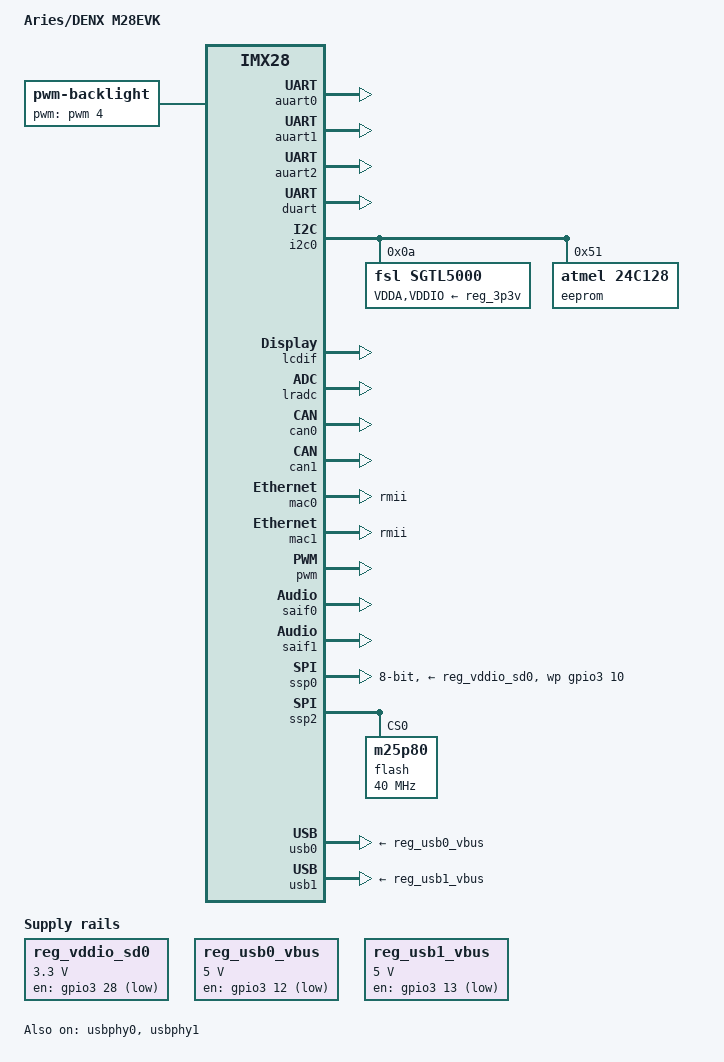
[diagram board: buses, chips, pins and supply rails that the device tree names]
// SPDX-License-Identifier: GPL-2.0-or-later
/*

 * Copyright (C) 2012 Marek Vasut <marex@denx.de>
 */

/dts-v1/;
#include "imx28-m28.dtsi"

/ {
	model = "Aries/DENX M28EVK";
	compatible = "aries,m28evk", "denx,m28evk", "fsl,imx28";

	backlight {
		compatible = "pwm-backlight";
		pwms = <&pwm 4 5000000>;
		brightness-levels = <0 4 8 16 32 64 128 255>;
		default-brightness-level = <6>;
	};

	reg_vddio_sd0: regulator-1 {
		compatible = "regulator-fixed";
		regulator-name = "vddio-sd0";
		regulator-min-microvolt = <3300000>;
		regulator-max-microvolt = <3300000>;
		gpio = <&gpio3 28 0>;
	};

	reg_usb0_vbus: regulator-2 {
		compatible = "regulator-fixed";
		regulator-name = "usb0_vbus";
		regulator-min-microvolt = <5000000>;
		regulator-max-microvolt = <5000000>;
		gpio = <&gpio3 12 0>;
	};

	reg_usb1_vbus: regulator-3 {
		compatible = "regulator-fixed";
		regulator-name = "usb1_vbus";
		regulator-min-microvolt = <5000000>;
		regulator-max-microvolt = <5000000>;
		gpio = <&gpio3 13 0>;
	};

	sound {
		compatible = "denx,m28evk-sgtl5000",
			     "fsl,mxs-audio-sgtl5000";
		model = "m28evk-sgtl5000";
		saif-controllers = <&saif0 &saif1>;
		audio-codec = <&sgtl5000>;
	};
};

&auart0 {
	pinctrl-names = "default";
	pinctrl-0 = <&auart0_pins_a>;
	status = "okay";
};

&auart1 {
	pinctrl-names = "default";
	pinctrl-0 = <&auart1_pins_a>;
	status = "okay";
};

&auart2 {
	pinctrl-names = "default";
	pinctrl-0 = <&auart2_2pins_b>;
	status = "okay";
};

&duart {
	pinctrl-names = "default";
	pinctrl-0 = <&duart_pins_a>;
	status = "okay";
};

&i2c0 {
	sgtl5000: codec@a {
		compatible = "fsl,sgtl5000";
		reg = <0x0a>;
		#sound-dai-cells = <0>;
		VDDA-supply = <&reg_3p3v>;
		VDDIO-supply = <&reg_3p3v>;
		clocks = <&saif0>;
	};

	eeprom: eeprom@51 {
		compatible = "atmel,24c128";
		reg = <0x51>;
		pagesize = <32>;
	};
};

&lcdif {
	pinctrl-names = "default";
	pinctrl-0 = <&lcdif_24bit_pins_a
		     &lcdif_pins_m28>;
	display = <&display0>;
	status = "okay";

	display0: display0 {
		bits-per-pixel = <16>;
		bus-width = <18>;

		display-timings {
			native-mode = <&timing0>;
			timing0: timing0 {
				clock-frequency = <33260000>;
				hactive = <800>;
				vactive = <480>;
				hback-porch = <0>;
				hfront-porch = <256>;
				vback-porch = <0>;
				vfront-porch = <45>;
				hsync-len = <1>;
				vsync-len = <1>;
				hsync-active = <0>;
				vsync-active = <0>;
				de-active = <1>;
				pixelclk-active = <1>;
			};
		};
	};
};

&lradc {
	status = "okay";
	fsl,lradc-touchscreen-wires = <4>;
};

&can0 {
	pinctrl-names = "default";
	pinctrl-0 = <&can0_pins_a>;
	status = "okay";
};

&can1 {
	pinctrl-names = "default";
	pinctrl-0 = <&can1_pins_a>;
	status = "okay";
};

&mac0 {
	phy-mode = "rmii";
	pinctrl-names = "default";
	pinctrl-0 = <&mac0_pins_a>;
	clocks = <&clks 57>, <&clks 57>;
	clock-names = "ipg", "ahb";
	status = "okay";
};

&mac1 {
	phy-mode = "rmii";
	pinctrl-names = "default";
	pinctrl-0 = <&mac1_pins_a>;
	status = "okay";
};

&pinctrl {
	pinctrl-names = "default";
	pinctrl-0 = <&hog_pins_a>;

	hog_pins_a: hog@0 {
		reg = <0>;
		fsl,pinmux-ids = <
			MX28_PAD_PWM3__GPIO_3_28
			MX28_PAD_AUART2_CTS__GPIO_3_10
			MX28_PAD_AUART2_RTS__GPIO_3_11
			MX28_PAD_AUART3_RX__GPIO_3_12
			MX28_PAD_AUART3_TX__GPIO_3_13
		>;
		fsl,drive-strength = <MXS_DRIVE_4mA>;
		fsl,voltage = <MXS_VOLTAGE_HIGH>;
		fsl,pull-up = <MXS_PULL_DISABLE>;
	};

	lcdif_pins_m28: lcdif-m28@0 {
		reg = <0>;
		fsl,pinmux-ids = <
			MX28_PAD_LCD_DOTCLK__LCD_DOTCLK
			MX28_PAD_LCD_ENABLE__LCD_ENABLE
		>;
		fsl,drive-strength = <MXS_DRIVE_4mA>;
		fsl,voltage = <MXS_VOLTAGE_HIGH>;
		fsl,pull-up = <MXS_PULL_DISABLE>;
	};
};

&pwm {
	pinctrl-names = "default";
	pinctrl-0 = <&pwm4_pins_a>;
	status = "okay";
};

&saif0 {
	pinctrl-names = "default";
	pinctrl-0 = <&saif0_pins_a>;
	status = "okay";
};

&saif1 {
	pinctrl-names = "default";
	pinctrl-0 = <&saif1_pins_a>;
	fsl,saif-master = <&saif0>;
	status = "okay";
};

&ssp0 {
	compatible = "fsl,imx28-mmc";
	pinctrl-names = "default";
	pinctrl-0 = <&mmc0_8bit_pins_a
		     &mmc0_cd_cfg
		     &mmc0_sck_cfg>;
	bus-width = <8>;
	wp-gpios = <&gpio3 10 0>;
	vmmc-supply = <&reg_vddio_sd0>;
	status = "okay";
};

&ssp2 {
	#address-cells = <1>;
	#size-cells = <0>;
	compatible = "fsl,imx28-spi";
	pinctrl-names = "default";
	pinctrl-0 = <&spi2_pins_a>;
	status = "okay";

	flash: flash@0 {
		#address-cells = <1>;
		#size-cells = <1>;
		compatible = "m25p80", "jedec,spi-nor";
		spi-max-frequency = <40000000>;
		reg = <0>;
	};
};

&usb0 {
	vbus-supply = <&reg_usb0_vbus>;
	pinctrl-names = "default";
	pinctrl-0 = <&usb0_pins_a>;
	status = "okay";
};

&usb1 {
	vbus-supply = <&reg_usb1_vbus>;
	pinctrl-names = "default";
	pinctrl-0 = <&usb1_pins_a>;
	status = "okay";
};

&usbphy0 {
	status = "okay";
};

&usbphy1 {
	status = "okay";
};
